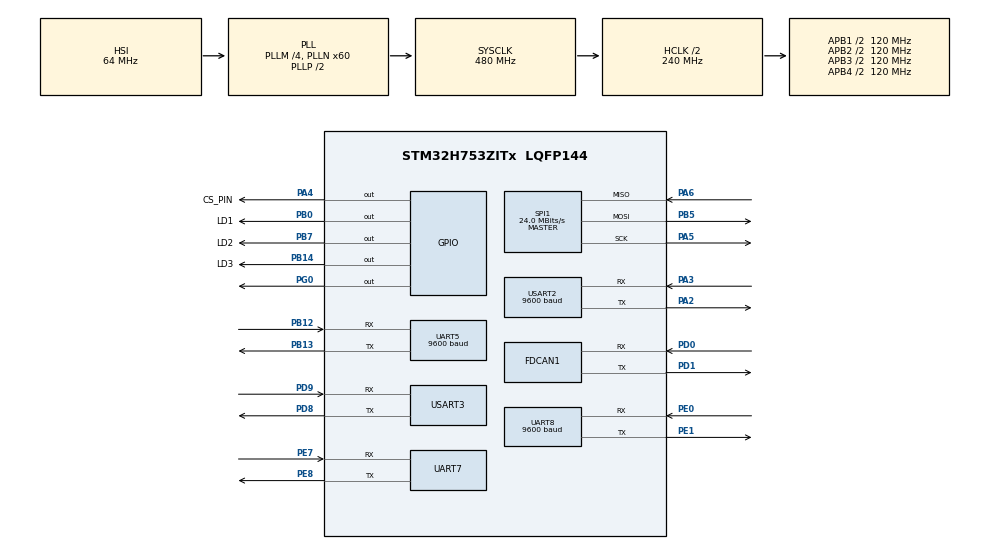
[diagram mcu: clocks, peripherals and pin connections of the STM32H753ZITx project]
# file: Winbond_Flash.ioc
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CORTEX_M7.CPU_DCache=Disabled
CORTEX_M7.CPU_ICache=Disabled
CORTEX_M7.MPU_Control=__NULL
CORTEX_M7.default_mode_Activation=1
FDCAN1.CalculateBaudRateNominal=1000000
FDCAN1.CalculateTimeBitNominal=1000
FDCAN1.CalculateTimeQuantumNominal=125.0
FDCAN1.ClockCalibrationCCU=DISABLE
FDCAN1.DataSyncJumpWidth=3
FDCAN1.DataTimeSeg1=4
FDCAN1.DataTimeSeg2=3
FDCAN1.NominalPrescaler=1
FDCAN1.NominalSyncJumpWidth=2
FDCAN1.NominalTimeSeg1=5
FDCAN1.NominalTimeSeg2=2
FDCAN1.RxFifo0ElmtsNbr=64
FDCAN1.StdFiltersNbr=0
FDCAN1.TxFifoQueueElmtsNbr=2
Mcu.Family=STM32H7
Mcu.Name=STM32H753ZITx
Mcu.Package=LQFP144
NUCLEO-H753ZI.BUTTON=1
NUCLEO-H753ZI.LD1=false
NUCLEO-H753ZI.LD2=false
NUCLEO-H753ZI.LD3=false
NUCLEO-H753ZI.VCP=false
NVIC.FDCAN1_IT0_IRQn=true\:0\:0\:false\:false\:true\:true\:true\:true
NVIC.PriorityGroup=NVIC_PRIORITYGROUP_4
NVIC.UART5_IRQn=true\:0\:0\:false\:false\:true\:true\:true\:true
NVIC.UART8_IRQn=true\:0\:0\:false\:false\:true\:true\:true\:true
NVIC.USART2_IRQn=true\:0\:0\:false\:false\:true\:true\:true\:true
PA2.Mode=Asynchronous
PA2.Signal=USART2_TX
PA3.Mode=Asynchronous
PA3.Signal=USART2_RX
PA4.GPIO_Label=CS_PIN
PA4.Signal=GPIO_Output
PA5.Mode=Full_Duplex_Master
PA5.Signal=SPI1_SCK
PA6.Mode=Full_Duplex_Master
PA6.Signal=SPI1_MISO
PB0.GPIO_Label=LD1
PB0.Signal=GPIO_Output
PB12.Mode=Asynchronous
PB12.Signal=UART5_RX
PB13.Mode=Asynchronous
PB13.Signal=UART5_TX
PB14.GPIO_Label=LD3
PB14.Signal=GPIO_Output
PB5.Mode=Full_Duplex_Master
PB5.Signal=SPI1_MOSI
PB7.GPIO_Label=LD2
PB7.Signal=GPIO_Output
PC14-OSC32_IN\ (OSC32_IN).Signal=RCC_OSC32_IN
PC15-OSC32_OUT\ (OSC32_OUT).Signal=RCC_OSC32_OUT
PD0.Mode=FDCAN_Activate
PD0.Signal=FDCAN1_RX
PD1.Mode=FDCAN_Activate
PD1.Signal=FDCAN1_TX
PD8.Mode=Asynchronous
PD8.Signal=USART3_TX
PD9.Mode=Asynchronous
PD9.Signal=USART3_RX
PE0.Mode=Asynchronous
PE0.Signal=UART8_RX
PE1.Mode=Asynchronous
PE1.Signal=UART8_TX
PE7.Mode=Asynchronous
PE7.Signal=UART7_RX
PE8.Mode=Asynchronous
PE8.Signal=UART7_TX
PG0.Signal=GPIO_Output
PH0-OSC_IN\ (PH0).Signal=RCC_OSC_IN
PH1-OSC_OUT\ (PH1).Signal=RCC_OSC_OUT
ProjectManager.HeapSize=0x200
ProjectManager.StackSize=0x400
ProjectManager.TargetToolchain=STM32CubeIDE
RCC.ADCFreq_Value=80000000
RCC.APB1Freq_Value=120000000
RCC.APB2Freq_Value=120000000
RCC.APB3Freq_Value=120000000
RCC.APB4Freq_Value=120000000
RCC.CortexFreq_Value=480000000
RCC.D1PPRE=RCC_APB3_DIV2
RCC.D2PPRE1=RCC_APB1_DIV2
RCC.D2PPRE2=RCC_APB2_DIV2
RCC.D3PPRE=RCC_APB4_DIV2
RCC.DIVM1=4
RCC.DIVM2=4
RCC.DIVN1=60
RCC.DIVN2=10
RCC.DIVQ1=10
RCC.DIVQ2=20
RCC.FDCANCLockSelection=RCC_FDCANCLKSOURCE_PLL2
RCC.HCLKFreq_Value=240000000
RCC.HPRE=RCC_HCLK_DIV2
RCC.HSE_VALUE=8000000
RCC.PLL2FRACN=0
RCC.PLL3FRACN=0
RCC.PLLFRACN=0
RCC.PREFETCH_ENABLE=1
RCC.SYSCLKFreq_VALUE=480000000
RCC.SYSCLKSource=RCC_SYSCLKSOURCE_PLLCLK
RCC.USBFreq_Value=96000000
SPI1.BaudRatePrescaler=SPI_BAUDRATEPRESCALER_4
SPI1.CalculateBaudRate=24.0 MBits/s
SPI1.DataSize=SPI_DATASIZE_8BIT
SPI1.Direction=SPI_DIRECTION_2LINES
SPI1.Mode=SPI_MODE_MASTER
SPI1.VirtualType=VM_MASTER
UART5.BaudRate=9600
UART5.FIFOMode=FIFOMODE_DISABLE
UART8.BaudRate=9600
USART2.BaudRate=9600
USART2.VirtualMode-Asynchronous=VM_ASYNC
USART3.VirtualMode-Asynchronous=VM_ASYNC
VP_MEMORYMAP_VS_MEMORYMAP.Mode=CurAppReg
board=NUCLEO-H753ZI

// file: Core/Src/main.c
/* USER CODE BEGIN Header */
/**
  ******************************************************************************
  * @file           : main.c
  * @brief          : Main program body
  ******************************************************************************
  * @attention
  *
  * Copyright (c) 2025 STMicroelectronics.
  * All rights reserved.
  *
  * This software is licensed under terms that can be found in the LICENSE file
  * in the root directory of this software component.
  * If no LICENSE file comes with this software, it is provided AS-IS.
  *
  ******************************************************************************
  */
/* USER CODE END Header */
#include "main.h"

/* USER CODE BEGIN Includes */
#include "Global_Var.h"
#include "Flash_driver.h"
#include "CAN.h"
/* USER CODE END Includes */

FDCAN_HandleTypeDef hfdcan1;

SPI_HandleTypeDef hspi1;

UART_HandleTypeDef huart5;
UART_HandleTypeDef huart7;
UART_HandleTypeDef huart8;
UART_HandleTypeDef huart2;
UART_HandleTypeDef huart3;

void SystemClock_Config(void);
static void MX_GPIO_Init(void);
static void MX_SPI1_Init(void);
static void MX_FDCAN1_Init(void);
static void MX_USART3_UART_Init(void);
static void MX_UART5_Init(void);
static void MX_UART7_Init(void);
static void MX_UART8_Init(void);
static void MX_USART2_UART_Init(void);
/* USER CODE BEGIN PFP */
static void init(void);
/* USER CODE END PFP */

int main(void)
{

  /* MCU Configuration--------------------------------------------------------*/

  /* Reset of all peripherals, Initializes the Flash interface and the Systick. */
  HAL_Init();

  /* Configure the system clock */
  SystemClock_Config();

  /* USER CODE BEGIN SysInit */
  init();
  /* USER CODE END SysInit */

  /* Initialize all configured peripherals */
  MX_GPIO_Init();
  MX_SPI1_Init();
  MX_FDCAN1_Init();
  MX_USART3_UART_Init();
  MX_UART5_Init();
  MX_UART7_Init();
  MX_UART8_Init();
  MX_USART2_UART_Init();

  /* Infinite loop */
  /* USER CODE BEGIN WHILE */

  Flash_Init(0);
  Flash.ID=Read_ID();
  while (1)
  {
	  Read_Register(SR);
	  HAL_UART_Receive(&huart3, &command,1, 100);

	  //Read
	  if(command==0x31){
		  Read_Data_Cont(16);
		  command = 0;
	  }

	  //Start
	  if(command==0x32){
		  Start_Flight_Recording=1;
		  CAN_SendMessage(0x100);
		  command=0;
	  }

	  //Stop
	  if(command==0x33){
		  Start_Flight_Recording=0;
		  CAN_SendMessage(0x101);
		  command=0;
	  }

	  //Erase
	  if(command==0x34){
		  Chip_Erase();
		  command=0;
	  }

    /* USER CODE END WHILE */

  }
}

void SystemClock_Config(void)
{
  RCC_OscInitTypeDef RCC_OscInitStruct = {0};
  RCC_ClkInitTypeDef RCC_ClkInitStruct = {0};

  /** Supply configuration update enable
  */
  HAL_PWREx_ConfigSupply(PWR_LDO_SUPPLY);

  /** Configure the main internal regulator output voltage
  */
  __HAL_PWR_VOLTAGESCALING_CONFIG(PWR_REGULATOR_VOLTAGE_SCALE0);

  while(!__HAL_PWR_GET_FLAG(PWR_FLAG_VOSRDY)) {}

  /** Initializes the RCC Oscillators according to the specified parameters
  * in the RCC_OscInitTypeDef structure.
  */
  RCC_OscInitStruct.OscillatorType = RCC_OSCILLATORTYPE_HSI;
  RCC_OscInitStruct.HSIState = RCC_HSI_DIV1;
  RCC_OscInitStruct.HSICalibrationValue = RCC_HSICALIBRATION_DEFAULT;
  RCC_OscInitStruct.PLL.PLLState = RCC_PLL_ON;
  RCC_OscInitStruct.PLL.PLLSource = RCC_PLLSOURCE_HSI;
  RCC_OscInitStruct.PLL.PLLM = 4;
  RCC_OscInitStruct.PLL.PLLN = 60;
  RCC_OscInitStruct.PLL.PLLP = 2;
  RCC_OscInitStruct.PLL.PLLQ = 10;
  RCC_OscInitStruct.PLL.PLLR = 2;
  RCC_OscInitStruct.PLL.PLLRGE = RCC_PLL1VCIRANGE_3;
  RCC_OscInitStruct.PLL.PLLVCOSEL = RCC_PLL1VCOWIDE;
  RCC_OscInitStruct.PLL.PLLFRACN = 0;
  if (HAL_RCC_OscConfig(&RCC_OscInitStruct) != HAL_OK)
  {
    Error_Handler();
  }

  /** Initializes the CPU, AHB and APB buses clocks
  */
  RCC_ClkInitStruct.ClockType = RCC_CLOCKTYPE_HCLK|RCC_CLOCKTYPE_SYSCLK
                              |RCC_CLOCKTYPE_PCLK1|RCC_CLOCKTYPE_PCLK2
                              |RCC_CLOCKTYPE_D3PCLK1|RCC_CLOCKTYPE_D1PCLK1;
  RCC_ClkInitStruct.SYSCLKSource = RCC_SYSCLKSOURCE_PLLCLK;
  RCC_ClkInitStruct.SYSCLKDivider = RCC_SYSCLK_DIV1;
  RCC_ClkInitStruct.AHBCLKDivider = RCC_HCLK_DIV2;
  RCC_ClkInitStruct.APB3CLKDivider = RCC_APB3_DIV2;
  RCC_ClkInitStruct.APB1CLKDivider = RCC_APB1_DIV2;
  RCC_ClkInitStruct.APB2CLKDivider = RCC_APB2_DIV2;
  RCC_ClkInitStruct.APB4CLKDivider = RCC_APB4_DIV2;

  if (HAL_RCC_ClockConfig(&RCC_ClkInitStruct, FLASH_LATENCY_4) != HAL_OK)
  {
    Error_Handler();
  }
}

static void MX_FDCAN1_Init(void)
{

  /* USER CODE BEGIN FDCAN1_Init 0 */
	__HAL_RCC_FDCAN_CLK_ENABLE();
  /* USER CODE END FDCAN1_Init 0 */

  hfdcan1.Instance = FDCAN1;
  hfdcan1.Init.FrameFormat = FDCAN_FRAME_CLASSIC;
  hfdcan1.Init.Mode = FDCAN_MODE_NORMAL;
  hfdcan1.Init.AutoRetransmission = DISABLE;
  hfdcan1.Init.TransmitPause = DISABLE;
  hfdcan1.Init.ProtocolException = DISABLE;
  hfdcan1.Init.NominalPrescaler = 1;
  hfdcan1.Init.NominalSyncJumpWidth = 2;
  hfdcan1.Init.NominalTimeSeg1 = 5;
  hfdcan1.Init.NominalTimeSeg2 = 2;
  hfdcan1.Init.DataPrescaler = 1;
  hfdcan1.Init.DataSyncJumpWidth = 3;
  hfdcan1.Init.DataTimeSeg1 = 4;
  hfdcan1.Init.DataTimeSeg2 = 3;
  hfdcan1.Init.MessageRAMOffset = 0;
  hfdcan1.Init.StdFiltersNbr = 0;
  hfdcan1.Init.ExtFiltersNbr = 0;
  hfdcan1.Init.RxFifo0ElmtsNbr = 64;
  hfdcan1.Init.RxFifo0ElmtSize = FDCAN_DATA_BYTES_8;
  hfdcan1.Init.RxFifo1ElmtsNbr = 0;
  hfdcan1.Init.RxFifo1ElmtSize = FDCAN_DATA_BYTES_8;
  hfdcan1.Init.RxBuffersNbr = 0;
  hfdcan1.Init.RxBufferSize = FDCAN_DATA_BYTES_8;
  hfdcan1.Init.TxEventsNbr = 0;
  hfdcan1.Init.TxBuffersNbr = 0;
  hfdcan1.Init.TxFifoQueueElmtsNbr = 2;
  hfdcan1.Init.TxFifoQueueMode = FDCAN_TX_FIFO_OPERATION;
  hfdcan1.Init.TxElmtSize = FDCAN_DATA_BYTES_8;
  if (HAL_FDCAN_Init(&hfdcan1) != HAL_OK)
  {
    Error_Handler();
  }
  /* USER CODE BEGIN FDCAN1_Init 2 */

  if (HAL_FDCAN_Start(&hfdcan1) != HAL_OK) {
      Error_Handler();
  }

  if (HAL_FDCAN_ActivateNotification(&hfdcan1, FDCAN_IT_RX_FIFO0_NEW_MESSAGE, 0) != HAL_OK) {
      Error_Handler();
  }
  /* USER CODE END FDCAN1_Init 2 */

}

static void MX_SPI1_Init(void)
{

  /* SPI1 parameter configuration*/
  hspi1.Instance = SPI1;
  hspi1.Init.Mode = SPI_MODE_MASTER;
  hspi1.Init.Direction = SPI_DIRECTION_2LINES;
  hspi1.Init.DataSize = SPI_DATASIZE_8BIT;
  hspi1.Init.CLKPolarity = SPI_POLARITY_LOW;
  hspi1.Init.CLKPhase = SPI_PHASE_1EDGE;
  hspi1.Init.NSS = SPI_NSS_SOFT;
  hspi1.Init.BaudRatePrescaler = SPI_BAUDRATEPRESCALER_4;
  hspi1.Init.FirstBit = SPI_FIRSTBIT_MSB;
  hspi1.Init.TIMode = SPI_TIMODE_DISABLE;
  hspi1.Init.CRCCalculation = SPI_CRCCALCULATION_DISABLE;
  hspi1.Init.CRCPolynomial = 0x0;
  hspi1.Init.NSSPMode = SPI_NSS_PULSE_ENABLE;
  hspi1.Init.NSSPolarity = SPI_NSS_POLARITY_LOW;
  hspi1.Init.FifoThreshold = SPI_FIFO_THRESHOLD_01DATA;
  hspi1.Init.TxCRCInitializationPattern = SPI_CRC_INITIALIZATION_ALL_ZERO_PATTERN;
  hspi1.Init.RxCRCInitializationPattern = SPI_CRC_INITIALIZATION_ALL_ZERO_PATTERN;
  hspi1.Init.MasterSSIdleness = SPI_MASTER_SS_IDLENESS_00CYCLE;
  hspi1.Init.MasterInterDataIdleness = SPI_MASTER_INTERDATA_IDLENESS_00CYCLE;
  hspi1.Init.MasterReceiverAutoSusp = SPI_MASTER_RX_AUTOSUSP_DISABLE;
  hspi1.Init.MasterKeepIOState = SPI_MASTER_KEEP_IO_STATE_DISABLE;
  hspi1.Init.IOSwap = SPI_IO_SWAP_DISABLE;
  if (HAL_SPI_Init(&hspi1) != HAL_OK)
  {
    Error_Handler();
  }

}

static void MX_UART5_Init(void)
{

  huart5.Instance = UART5;
  huart5.Init.BaudRate = 9600;
  huart5.Init.WordLength = UART_WORDLENGTH_8B;
  huart5.Init.StopBits = UART_STOPBITS_1;
  huart5.Init.Parity = UART_PARITY_NONE;
  huart5.Init.Mode = UART_MODE_TX_RX;
  huart5.Init.HwFlowCtl = UART_HWCONTROL_NONE;
  huart5.Init.OverSampling = UART_OVERSAMPLING_16;
  huart5.Init.OneBitSampling = UART_ONE_BIT_SAMPLE_DISABLE;
  huart5.Init.ClockPrescaler = UART_PRESCALER_DIV1;
  huart5.AdvancedInit.AdvFeatureInit = UART_ADVFEATURE_NO_INIT;
  if (HAL_UART_Init(&huart5) != HAL_OK)
  {
    Error_Handler();
  }
  if (HAL_UARTEx_SetTxFifoThreshold(&huart5, UART_TXFIFO_THRESHOLD_1_8) != HAL_OK)
  {
    Error_Handler();
  }
  if (HAL_UARTEx_SetRxFifoThreshold(&huart5, UART_RXFIFO_THRESHOLD_1_8) != HAL_OK)
  {
    Error_Handler();
  }
  if (HAL_UARTEx_DisableFifoMode(&huart5) != HAL_OK)
  {
    Error_Handler();
  }

}

static void MX_UART7_Init(void)
{

  huart7.Instance = UART7;
  huart7.Init.BaudRate = 115200;
  huart7.Init.WordLength = UART_WORDLENGTH_8B;
  huart7.Init.StopBits = UART_STOPBITS_1;
  huart7.Init.Parity = UART_PARITY_NONE;
  huart7.Init.Mode = UART_MODE_TX_RX;
  huart7.Init.HwFlowCtl = UART_HWCONTROL_NONE;
  huart7.Init.OverSampling = UART_OVERSAMPLING_16;
  huart7.Init.OneBitSampling = UART_ONE_BIT_SAMPLE_DISABLE;
  huart7.Init.ClockPrescaler = UART_PRESCALER_DIV1;
  huart7.AdvancedInit.AdvFeatureInit = UART_ADVFEATURE_NO_INIT;
  if (HAL_UART_Init(&huart7) != HAL_OK)
  {
    Error_Handler();
  }
  if (HAL_UARTEx_SetTxFifoThreshold(&huart7, UART_TXFIFO_THRESHOLD_1_8) != HAL_OK)
  {
    Error_Handler();
  }
  if (HAL_UARTEx_SetRxFifoThreshold(&huart7, UART_RXFIFO_THRESHOLD_1_8) != HAL_OK)
  {
    Error_Handler();
  }
  if (HAL_UARTEx_DisableFifoMode(&huart7) != HAL_OK)
  {
    Error_Handler();
  }

}

static void MX_UART8_Init(void)
{

  huart8.Instance = UART8;
  huart8.Init.BaudRate = 9600;
  huart8.Init.WordLength = UART_WORDLENGTH_8B;
  huart8.Init.StopBits = UART_STOPBITS_1;
  huart8.Init.Parity = UART_PARITY_NONE;
  huart8.Init.Mode = UART_MODE_TX_RX;
  huart8.Init.HwFlowCtl = UART_HWCONTROL_NONE;
  huart8.Init.OverSampling = UART_OVERSAMPLING_16;
  huart8.Init.OneBitSampling = UART_ONE_BIT_SAMPLE_DISABLE;
  huart8.Init.ClockPrescaler = UART_PRESCALER_DIV1;
  huart8.AdvancedInit.AdvFeatureInit = UART_ADVFEATURE_NO_INIT;
  if (HAL_UART_Init(&huart8) != HAL_OK)
  {
    Error_Handler();
  }
  if (HAL_UARTEx_SetTxFifoThreshold(&huart8, UART_TXFIFO_THRESHOLD_1_8) != HAL_OK)
  {
    Error_Handler();
  }
  if (HAL_UARTEx_SetRxFifoThreshold(&huart8, UART_RXFIFO_THRESHOLD_1_8) != HAL_OK)
  {
    Error_Handler();
  }
  if (HAL_UARTEx_DisableFifoMode(&huart8) != HAL_OK)
  {
    Error_Handler();
  }

}

static void MX_USART2_UART_Init(void)
{

  huart2.Instance = USART2;
  huart2.Init.BaudRate = 9600;
  huart2.Init.WordLength = UART_WORDLENGTH_8B;
  huart2.Init.StopBits = UART_STOPBITS_1;
  huart2.Init.Parity = UART_PARITY_NONE;
  huart2.Init.Mode = UART_MODE_TX_RX;
  huart2.Init.HwFlowCtl = UART_HWCONTROL_NONE;
  huart2.Init.OverSampling = UART_OVERSAMPLING_16;
  huart2.Init.OneBitSampling = UART_ONE_BIT_SAMPLE_DISABLE;
  huart2.Init.ClockPrescaler = UART_PRESCALER_DIV1;
  huart2.AdvancedInit.AdvFeatureInit = UART_ADVFEATURE_NO_INIT;
  if (HAL_UART_Init(&huart2) != HAL_OK)
  {
    Error_Handler();
  }
  if (HAL_UARTEx_SetTxFifoThreshold(&huart2, UART_TXFIFO_THRESHOLD_1_8) != HAL_OK)
  {
    Error_Handler();
  }
  if (HAL_UARTEx_SetRxFifoThreshold(&huart2, UART_RXFIFO_THRESHOLD_1_8) != HAL_OK)
  {
    Error_Handler();
  }
  if (HAL_UARTEx_DisableFifoMode(&huart2) != HAL_OK)
  {
    Error_Handler();
  }

}

static void MX_USART3_UART_Init(void)
{

  huart3.Instance = USART3;
  huart3.Init.BaudRate = 115200;
  huart3.Init.WordLength = UART_WORDLENGTH_8B;
  huart3.Init.StopBits = UART_STOPBITS_1;
  huart3.Init.Parity = UART_PARITY_NONE;
  huart3.Init.Mode = UART_MODE_TX_RX;
  huart3.Init.HwFlowCtl = UART_HWCONTROL_NONE;
  huart3.Init.OverSampling = UART_OVERSAMPLING_16;
  huart3.Init.OneBitSampling = UART_ONE_BIT_SAMPLE_DISABLE;
  huart3.Init.ClockPrescaler = UART_PRESCALER_DIV1;
  huart3.AdvancedInit.AdvFeatureInit = UART_ADVFEATURE_NO_INIT;
  if (HAL_UART_Init(&huart3) != HAL_OK)
  {
    Error_Handler();
  }
  if (HAL_UARTEx_SetTxFifoThreshold(&huart3, UART_TXFIFO_THRESHOLD_1_8) != HAL_OK)
  {
    Error_Handler();
  }
  if (HAL_UARTEx_SetRxFifoThreshold(&huart3, UART_RXFIFO_THRESHOLD_1_8) != HAL_OK)
  {
    Error_Handler();
  }
  if (HAL_UARTEx_DisableFifoMode(&huart3) != HAL_OK)
  {
    Error_Handler();
  }

}

static void MX_GPIO_Init(void)
{
  GPIO_InitTypeDef GPIO_InitStruct = {0};

  /* GPIO Ports Clock Enable */
  __HAL_RCC_GPIOC_CLK_ENABLE();
  __HAL_RCC_GPIOH_CLK_ENABLE();
  __HAL_RCC_GPIOA_CLK_ENABLE();
  __HAL_RCC_GPIOB_CLK_ENABLE();
  __HAL_RCC_GPIOG_CLK_ENABLE();
  __HAL_RCC_GPIOE_CLK_ENABLE();
  __HAL_RCC_GPIOD_CLK_ENABLE();

  /*Configure GPIO pin Output Level */
  HAL_GPIO_WritePin(CS_PIN_GPIO_Port, CS_PIN_Pin, GPIO_PIN_RESET);

  /*Configure GPIO pin Output Level */
  HAL_GPIO_WritePin(GPIOB, LD1_Pin|LD3_Pin|LD2_Pin, GPIO_PIN_RESET);

  /*Configure GPIO pin Output Level */
  HAL_GPIO_WritePin(GPIOG, GPIO_PIN_0, GPIO_PIN_RESET);

  /*Configure GPIO pin : CS_PIN_Pin */
  GPIO_InitStruct.Pin = CS_PIN_Pin;
  GPIO_InitStruct.Mode = GPIO_MODE_OUTPUT_PP;
  GPIO_InitStruct.Pull = GPIO_NOPULL;
  GPIO_InitStruct.Speed = GPIO_SPEED_FREQ_LOW;
  HAL_GPIO_Init(CS_PIN_GPIO_Port, &GPIO_InitStruct);

  /*Configure GPIO pins : LD1_Pin LD3_Pin LD2_Pin */
  GPIO_InitStruct.Pin = LD1_Pin|LD3_Pin|LD2_Pin;
  GPIO_InitStruct.Mode = GPIO_MODE_OUTPUT_PP;
  GPIO_InitStruct.Pull = GPIO_NOPULL;
  GPIO_InitStruct.Speed = GPIO_SPEED_FREQ_LOW;
  HAL_GPIO_Init(GPIOB, &GPIO_InitStruct);

  /*Configure GPIO pin : PG0 */
  GPIO_InitStruct.Pin = GPIO_PIN_0;
  GPIO_InitStruct.Mode = GPIO_MODE_OUTPUT_PP;
  GPIO_InitStruct.Pull = GPIO_NOPULL;
  GPIO_InitStruct.Speed = GPIO_SPEED_FREQ_LOW;
  HAL_GPIO_Init(GPIOG, &GPIO_InitStruct);

}

/* USER CODE BEGIN 4 */

static void init(void){

	//Assigning status register addresses
	SR.SR_1 = 0;
	SR.SR_1_Addr = 0xA0;
	SR.SR_2 = 0;
	SR.SR_2_Addr = 0xB0;
	SR.SR_3 = 0;
	SR.SR_3_Addr = 0xC0;

	Flash_Data* pointer = &Flash;

	memset(pointer->Buffer_0, 0xFF, sizeof(pointer->Buffer_0));
	memset(pointer->Buffer_1, 0xFF, sizeof(pointer->Buffer_1));
	Flash.Buffer_Index = 0;
	Flash.Buffer_flip = 0;
	Flash.Block_Mem = 0;
	Flash.Page_Index = 0;
	Flash.ID = 0;
	Flash.Buffer_p = Flash.Buffer_0;

	CoreDebug->DEMCR |= CoreDebug_DEMCR_TRCENA_Msk;  // Enable DWT
	DWT->CTRL |= DWT_CTRL_CYCCNTENA_Msk;            // Enable cycle counter
}

/* USER CODE END 4 */

void Error_Handler(void)
{
  /* USER CODE BEGIN Error_Handler_Debug */
  /* User can add his own implementation to report the HAL error return state */
	HAL_FDCAN_Start(&hfdcan1);
  //__disable_irq();
  //while (1)
  //{
  //}
  /* USER CODE END Error_Handler_Debug */
}
